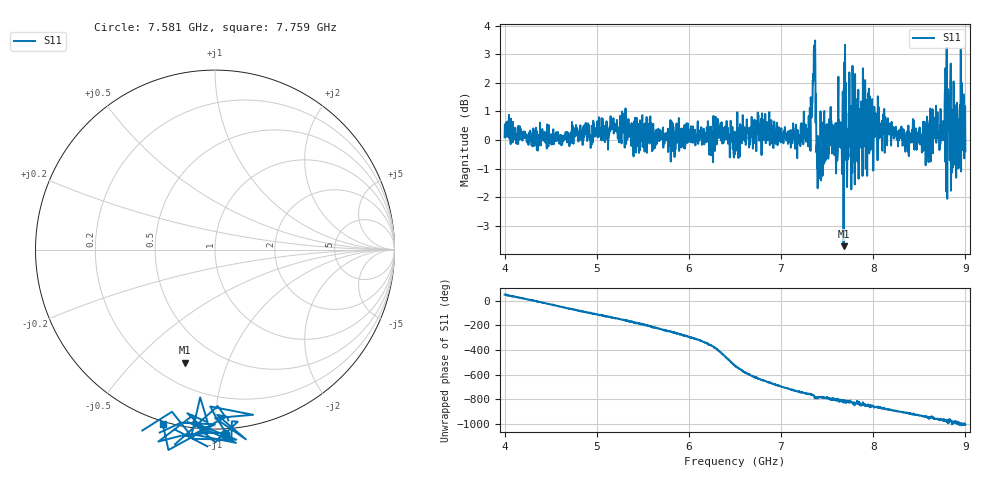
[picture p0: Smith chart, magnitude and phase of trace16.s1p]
! Created with skrf 1.8.0 (http://scikit-rf.org).
# Hz S RI R 50.0
!freq ReS11 ImS11
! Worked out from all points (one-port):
!   1601 points, 4 GHz to 9 GHz, reference 50 ohm
!   lowest |S11| = -3.7 dB at 7.678 GHz (marker M1), VSWR 4.75, Z = 16.3 - j35.7 ohm
!   |S11| at or under -10 dB: nowhere
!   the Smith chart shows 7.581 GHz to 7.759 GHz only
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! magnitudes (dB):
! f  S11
! 4 GHz  0.1
! 4.625 GHz  -0.2
! 5.25 GHz  0.0
! 5.875 GHz  0.3
! 6.331 GHz  0.3
! 6.5 GHz  -0.5
! 6.803 GHz  0.7
! 7.125 GHz  0.1
! 7.294 GHz  -0.2
! 7.347 GHz  1.9
! 7.369 GHz  3.5
! 7.397 GHz  -1.7
! 7.412 GHz  -1.0
! 7.547 GHz  -0.2
! 7.591 GHz  0.6
! 7.678 GHz  -3.7
! 7.75 GHz  -0.2
! 7.928 GHz  0.2
! 7.981 GHz  -0.2
! 8.038 GHz  0.4
! 8.375 GHz  -0.1
! 8.584 GHz  0.8
! 8.656 GHz  0.7
! 8.728 GHz  -0.1
! 8.819 GHz  0.3
! 8.869 GHz  0.0
! 8.972 GHz  0.5
! 9 GHz  -0.4
